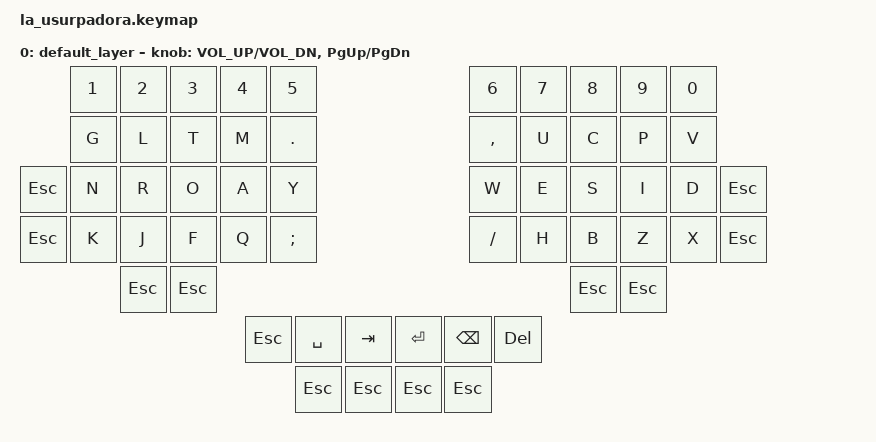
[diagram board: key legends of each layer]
// This file was generated from a template. Edit it to match your keyboard.
// See https://zmk.dev/docs/development/hardware-integration/new-shield for more instructions.

#include <behaviors.dtsi>
#include <dt-bindings/zmk/keys.h>

/ {

    keymap {
        compatible = "zmk,keymap";

        default_layer {
            bindings = <
         &kp N1  &kp N2   &kp N3   &kp N4   &kp N5                       &kp N6     &kp N7   &kp N8   &kp N9   &kp N0
         &kp G   &kp L    &kp T    &kp M    &kp DOT                      &kp COMMA  &kp U    &kp C    &kp P    &kp V
&kp ESC  &kp N   &kp R    &kp O    &kp A    &kp Y                        &kp W      &kp E    &kp S    &kp I    &kp D   &kp ESC
&kp ESC  &kp K   &kp J    &kp F    &kp Q    &kp SEMI                     &kp FSLH   &kp H    &kp B    &kp Z    &kp X   &kp ESC
                 &kp ESC  &kp ESC  &kp ESC  &kp SPACE  &kp TAB  &kp RET  &kp BSPC   &kp DEL  &kp ESC  &kp ESC
                                            &kp ESC    &kp ESC  &kp ESC  &kp ESC
            >;

            sensor-bindings = <&inc_dec_kp C_VOL_UP C_VOL_DN &inc_dec_kp PG_UP PG_DN>;
        };
    };
};
